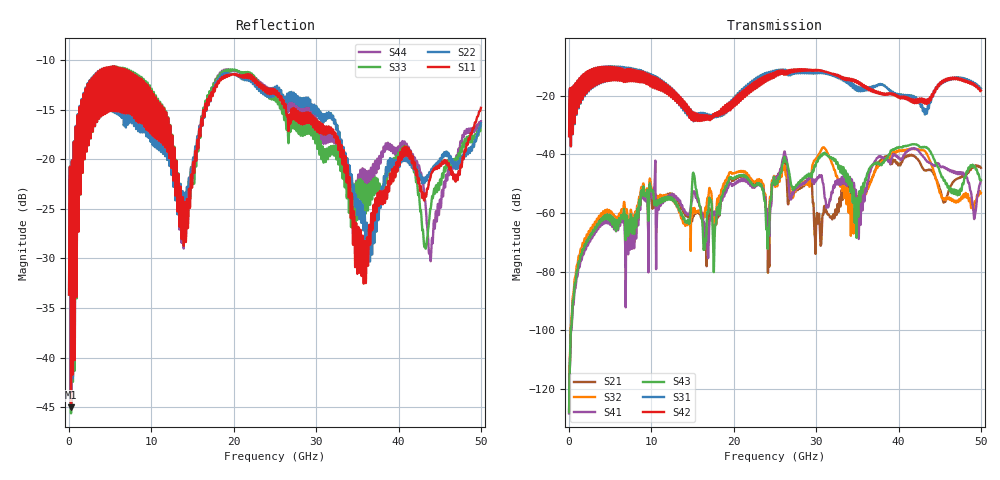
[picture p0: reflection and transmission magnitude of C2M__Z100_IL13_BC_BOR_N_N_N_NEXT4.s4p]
# GHz S MA R 50
! S-Parameters data
! Freq  magS11  angS11  magS12  angS12  magS13  angS13  magS14  angS14
!  magS21  angS21  magS22  angS22  magS23  angS23  magS24  angS24
!  magS31  angS31  magS32  angS32  magS33  angS33  magS34  angS34
!  magS41  angS41  magS42  angS42  magS43  angS43  magS44  angS44
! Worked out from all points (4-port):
!   5000 points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, 10 MHz to 50 GHz, reference 50 ohm
!   strongest paths, dB at 10 MHz, 12.51 GHz, 25.01 GHz, 37.51 GHz, 50 GHz:
!     S42: -33.8, -17.6, -12.1, -18.8, -18.2
!     S31: -33.8, -17.5, -11.4, -16.2, -17.6
!     S43: -128.0, -54.9, -50.1, -43.0, -48.8
!     S41: -128.4, -53.6, -49.2, -41.1, -48.9
!     S32: -127.5, -54.9, -50.6, -43.9, -53.2
!     S21: -128.2, -53.4, -49.1, -43.1, -44.6
!   lowest |S11| = -45.0 dB at 240 MHz (marker M1), VSWR 1.01, Z = 50.2 + j0.529 ohm
!   |S11| at or under -10 dB: start of sweep to end of sweep
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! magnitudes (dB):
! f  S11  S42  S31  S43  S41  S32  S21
! 10 MHz  -33.6  -33.8  -33.8  -128.0  -128.4  -127.5  -128.2
! 240 MHz  -45.0  -30.3  -30.4  -99.1  -100.1  -97.9  -99.2
! 8.95 GHz  -14.5  -12.5  -12.2  -52.2  -53.0  -51.0  -51.8
! 24.11 GHz  -13.3  -14.9  -13.5  -72.2  -63.5  -60.7  -67.5
! 30.88 GHz  -17.4  -11.7  -12.4  -40.0  -50.2  -37.6  -60.4
! 34.62 GHz  -25.6  -14.8  -16.9  -55.6  -50.5  -62.8  -52.6
! 50 GHz  -14.8  -18.2  -17.6  -48.8  -48.9  -53.2  -44.6
